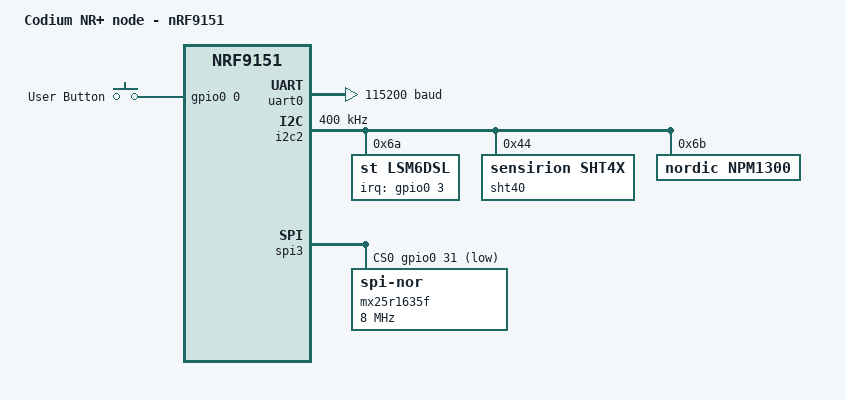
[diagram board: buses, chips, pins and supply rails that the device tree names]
/*
 * Copyright (c) 2026 Codium Electronique
 * SPDX-License-Identifier: Apache-2.0
 */

#include "cod_nrp_node_nrf9151_common-pinctrl.dtsi"

/ {
	model = "Codium NR+ node - nRF9151";
	compatible = "codium,cod-nrp-node-nrf9151";

	chosen {
		zephyr,flash = &flash0;
		zephyr,console = &uart0;
		zephyr,shell-uart = &uart0;
		zephyr,uart-mcumgr = &uart0;
	};

	buttons {
		compatible = "gpio-keys";

		button1: button1 {
			gpios = <&gpio0 0 GPIO_ACTIVE_HIGH>;
			label = "User Button";
		};
	};
};

&adc {
	status = "disabled";
};

&gpiote {
	status = "okay";
};

&gpio0 {
	status = "okay";
};

// UART 0 for logs and shell in secure and non-secure worlds
&uart0 {
	status = "okay";
	current-speed = <115200>;
	/delete-property/ hw-flow-control;

	pinctrl-0 = <&uart0_default>;
	pinctrl-1 = <&uart0_sleep>;
	pinctrl-names = "default", "sleep";
};

&uart1 {
	status = "disabled";
};

&i2c2 {
	compatible = "nordic,nrf-twim";
	status = "okay";
	clock-frequency = <400000>;
	pinctrl-0 = <&i2c2_default>;
	pinctrl-1 = <&i2c2_sleep>;
	pinctrl-names = "default", "sleep";

	// STMicroelectronics LSM6DSL 6-axis accelerometer and gyroscope accessed through i2c bus
	lsm6dsl: lsm6dsl@6a {
		compatible = "st,lsm6dsl";
		status = "okay";
		#address-cells = <1>;
		#size-cells = <0>;

		reg = <0x6A>;
		irq-gpios = <&gpio0 3 GPIO_ACTIVE_HIGH>;

		// STMicroelectronics LIS2MDL magnetometer, wired directly to LSM6DSL
		lis2mdl: lis2mdl@40 {
			compatible = "st,lis2mdl";
			status = "okay";
			reg = <0x40>;
		};
	};

	sht40: sht4x@44 {
		compatible = "sensirion,sht4x";
		status = "okay";
		repeatability = <2>;
		reg = <0x44>;
		friendly-name = "sht40";
	};

	// PMIC npm1300
	npm1300: npm1300@6b {
		compatible = "nordic,npm1300";
		status = "okay";
		reg = <0x6b>;

		npm1300_charger: npm1300-charger {
			compatible = "nordic,npm1300-charger";
			status = "okay";
			charging-enable;
			term-microvolt = <4200000>; //uV => 4.2V
			current-microamp = <500000>; // uA => 500mA
			dischg-limit-microamp = <1000000>; // uA => 1A
			vbus-limit-microamp = <500000>; // uA => 500mA
			thermistor-ohms = <0>; // Ohms => 0Ohms
			thermistor-beta = <0>;
			term-current-percent = <10>;
		};

		npm1300_led: npm1300-led {
			compatible = "nordic,npm1300-led";
			status = "okay";
			nordic,led0-mode = "host";
			nordic,led1-mode = "charging";
			nordic,led2-mode = "error";
		};
	};
};

&spi3 {
	compatible = "nordic,nrf-spim";
	status = "okay";
	zephyr,pm-device-runtime-auto;

	cs-gpios = <&gpio0 31 GPIO_ACTIVE_LOW>;
	pinctrl-0 = <&spi3_default>;
	pinctrl-1 = <&spi3_sleep>;
	pinctrl-names = "default", "sleep";

	mx25r1635f: mx25r1635f@0 {
		compatible = "jedec,spi-nor";
		status = "okay";
		zephyr,pm-device-runtime-auto;

		reg = <0>;
		spi-max-frequency = <8000000>;
		size = <16777216>; // 16 Mib
		has-dpd;
		t-enter-dpd = <10000>;
		t-exit-dpd = <35000>;
		jedec-id = [c2 28 15];
		mxicy,mx25r-power-mode = "low-power";
	};
};

/* Include default memory partition configuration file */
#include <nordic/nrf91xx_partition.dtsi>
